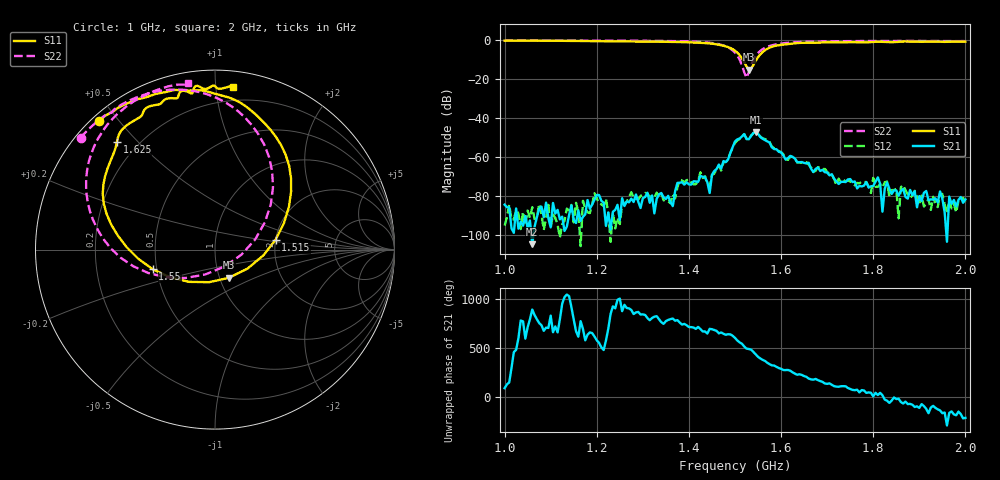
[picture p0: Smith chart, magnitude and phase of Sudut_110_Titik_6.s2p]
# Hz S RI R 50
! CMT, C1220, 16058040, 17.2.0/1
! Date: 14/08/2018 12:21:32
! Data: Format (Calibration Info)
! Freq  S11: Re/Im (F2)  S21: Re/Im (F2)  S12: Re/Im (F2)  S22: Re/Im (F2)
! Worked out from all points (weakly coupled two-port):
!   201 points, 1 GHz to 2 GHz, reference 50 ohm
!   highest |S21| = -47.08 dB at 1.545 GHz (marker M1); lowest = -104.8 dB at 1.06 GHz (marker M2)
!   lowest |S11| = -15.1 dB at 1.53 GHz (marker M3), VSWR 1.43, Z = 55.5 - j17.9 ohm
!   |S11| at or under -10 dB: 1.517 GHz to 1.547 GHz (30.01 MHz wide, 1.96 % of centre)
!   |S22| runs from -19.3 to -0.2 dB; largest |S21 - S12| = 0.00021
!   S11 on the Smith chart (normalised r, x): 1 GHz: 0.02, +0.45; 1.515 GHz: 2.00, +0.25; 1.55 GHz: 0.48, -0.12; 1.625 GHz: 0.12, +0.43; 2 GHz: 0.11, +1.11
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1e9  -0.6446 0.716  -1.11e-06 6.04e-05  1.48e-05 -9.33e-06  -0.7482 0.6241
1.06e9  -0.586 0.7599  -5.64e-06 1.16e-06  -4.48e-05 -2.6e-05  -0.7069 0.6682
1.17e9  -0.4664 0.8239  2.57e-05 -1.4e-05  6.23e-05 -4.32e-05  -0.6115 0.7485
1.335e9  -0.1992 0.888  3.8e-05 0.000104  1.25e-05 9.57e-05  -0.3965 0.8622
1.425e9  0.0868 0.8439  0.000286 -0.000163  0.00037 -0.000174  -0.1153 0.8829
1.445e9  0.1681 0.8006  0.000107 -5.49e-05  0.000106 -0.000134  -0.00586 0.8513
1.45e9  0.191 0.7833  0.0003 -0.000181  0.000296 -0.00017  0.0263 0.8369
1.5e9  0.4239 0.3228  -0.00123 -0.0022  -0.00113 -0.00202  0.3231 0.3472
1.515e9  0.3373 0.0546  -0.00336 -0.000104  -0.00336 -0.000137  0.2231 0.0554
1.53e9  0.0789 -0.1565  -0.00178 0.00225  -0.00179 0.00225  -0.0552 -0.1388
1.545e9  -0.2507 -0.1543  0.00122 0.00425  0.00111 0.00424  -0.3716 -0.1306
1.55e9  -0.3468 -0.1094  0.00262 0.00296  0.00253 0.00306  -0.4555 -0.0926
1.625e9  -0.5469 0.5977  -0.000316 -0.000964  -0.000282 -0.000961  -0.6937 0.5205
1.67e9  -0.4207 0.7362  -0.000412 1.62e-05  -0.000414 -1.69e-05  -0.6186 0.6704
1.765e9  -0.2422 0.844  4.01e-05 0.000152  6.03e-05 0.00021  -0.4698 0.8144
1.81e9  -0.184 0.8841  0.000281 0.00011  0.000112 0.000131  -0.4047 0.8534
1.82e9  -0.163 0.8827  3.77e-05 1.31e-05  0.000134 9.72e-05  -0.3912 0.86
1.83e9  -0.1411 0.8737  0.00018 -0.000131  0.000231 -4.47e-05  -0.3779 0.8666
1.835e9  -0.1331 0.8702  8.15e-05 -0.000131  8.16e-05 -4.94e-05  -0.3713 0.8697
1.865e9  -0.1118 0.9077  6.67e-05 -0.000137  8e-05 -0.000174  -0.3301 0.8866
1.88e9  -0.0884 0.9092  5.32e-05 -0.000134  4.96e-05 -7.68e-05  -0.3084 0.8947
2e9  0.0984 0.9038  -7.12e-05 4.13e-05  -5.72e-05 4.29e-05  -0.1491 0.9277
